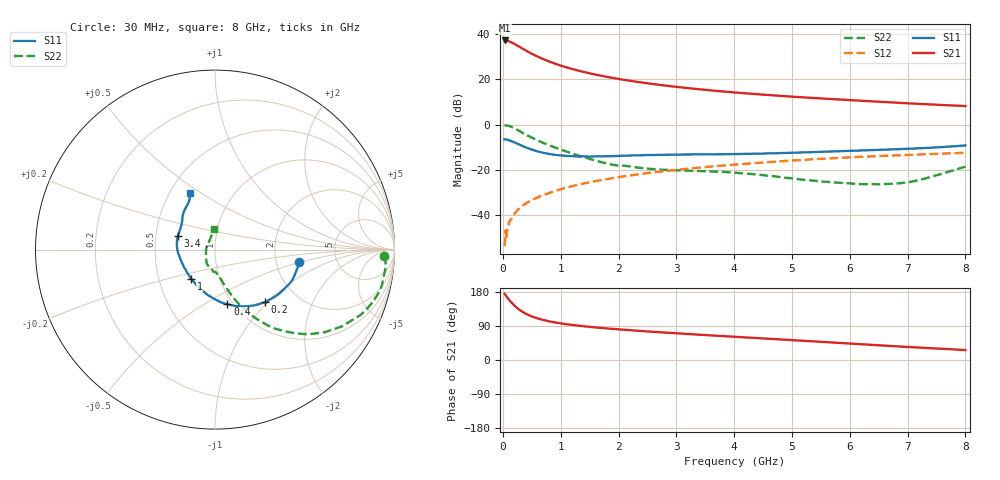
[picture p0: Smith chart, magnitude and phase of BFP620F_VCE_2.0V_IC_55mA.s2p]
! Infineon Technologies  Discrete & RF Semiconductors
! BFP620F
! VCE =  2.0 V,  IC =  55 mA
! Common Emitter S-Parameters:  Dec 2014
# GHz  S  MA  R  50
!  f  S11  S21  S12  S22
! GHz  MAG  ANG  MAG  ANG  MAG  ANG  MAG  ANG
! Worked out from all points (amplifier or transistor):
!   95 points, 30 MHz to 8 GHz, reference 50 ohm
!   highest |S21| = 37.0 dB at 40 MHz (marker M1)
!   |S21| within 3 dB of that: start of sweep to 300.8 MHz
!   unconditionally stable (mu >= 1): 1.828 GHz to end of sweep
!   at 300 MHz: K = 0.51, MSG = 35.3 dB, |S12| = -36.5 dB
!   at 3.3 GHz: K = 1.03, MAG = 16.4 dB, |S12| = -19.2 dB
!   at 8 GHz: K = 1.05, MAG = 8.9 dB, |S12| = -12.4 dB
!   S11 on the Smith chart (normalised r, x): 30 MHz: 2.70, -0.48; 200 MHz: 1.38, -0.97; 400 MHz: 0.94, -0.63; 1 GHz: 0.73, -0.25; 3.4 GHz: 0.65, +0.10; 8 GHz: 0.63, +0.45
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0.03  0.4728 -8.4  71 174.7  0.0021 96.3  0.9446 -2.1
0.04  0.4733 -10.8  71.02 172.6  0.0029 91.4  0.9523 -4.1
0.07  0.4653 -18.1  70.34 166.3  0.0043 78.7  0.9514 -10.2
0.11  0.4477 -27.8  67.58 158.3  0.0074 91.4  0.9284 -17.8
0.15  0.4294 -36.3  64.32 151.4  0.0084 78.0  0.8878 -24.3
0.2  0.4054 -46.4  59.52 143.6  0.0107 74.1  0.8263 -31.2
0.25  0.3792 -55.2  54.84 136.8  0.013 73.8  0.7642 -37.1
0.3  0.3552 -63.2  50.34 131.0  0.0149 72.4  0.7038 -42.1
0.35  0.3325 -70.6  46.13 126.2  0.0166 71.8  0.648 -46.1
0.4  0.3125 -77.3  42.48 121.9  0.0184 72.0  0.5979 -49.5
0.5  0.2806 -88.7  36.25 115.1  0.0218 70.5  0.5154 -55.1
0.6  0.2561 -99.2  31.37 109.8  0.0248 70.7  0.4474 -59.2
0.8  0.2259 -115.9  24.46 102.1  0.0311 70.3  0.3498 -65.1
1  0.2096 -129.7  19.91 96.7  0.0376 70.3  0.2814 -69.3
1.4  0.1987 -150.8  14.39 89.0  0.0506 69.6  0.1916 -76.3
1.9  0.2017 -169.2  10.64 82.1  0.0661 67.5  0.1301 -86.7
2.7  0.215 171.9  7.509 73.4  0.0912 63.4  0.1022 -105.9
3.4  0.2199 159.8  5.979 66.7  0.1128 59.2  0.0948 -116.6
4.1  0.2249 149.7  4.981 60.4  0.1338 54.8  0.0853 -123.5
5.4  0.2483 137.2  3.829 48.9  0.1729 46.1  0.0578 -149.9
6.7  0.2827 125.6  3.084 37.1  0.2068 36.7  0.0494 151.1
8  0.3471 113.6  2.554 26.2  0.2386 27.6  0.1178 94.0
